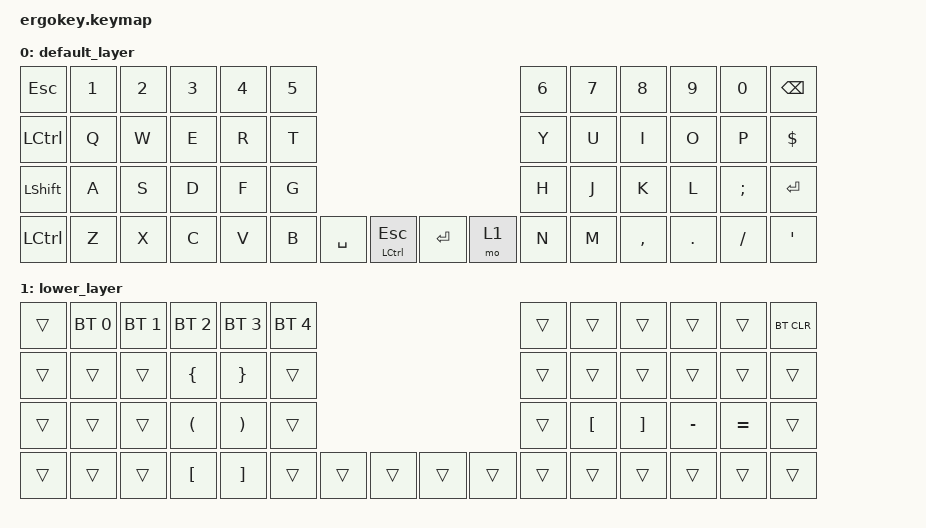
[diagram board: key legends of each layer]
#include <behaviors.dtsi>
#include <dt-bindings/zmk/keys.h>
#include <dt-bindings/zmk/bt.h>

// Defines what key goes where
// &kp = keypress
// &mo = momentary layer, means it activates a specific layer when we hold down this key
//    &mo 1 = selects into the next layer
// &bt = selects a different bluetooth device

// concept of layers: https://zmk.dev/docs/keymaps#layers
// key codes: https://zmk.dev/docs/keymaps/list-of-keycodes#modifiers

/ {
        keymap {
                compatible = "zmk,keymap";

                default_layer {
// ---------------------------------------------------------------------------------
// |   `  |  1  |  2  |  3  |  4  |  5  |     |  6  |  7  |  8  |  9  |  0  | BKSP |
// |  TAB |  Q  |  W  |  E  |  R  |  T  |     |  Y  |  U  |  I  |  O  |  P  |  \   |
// | CAPS |  A  |  S  |  D  |  F  |  G  |     |  H  |  J  |  K  |  L  |  ;  |  ENT |
// | SHFT |  Z  |  X  |  C  |  V  |  B  |     |  N  |  M  |  ,  |  .  |  /  | APOS |
// | CTRL | ALT | GUI | SPC | SPC | SPC |     | SPC | LOW |LARW |DARW |UARW | RARW |
                        bindings = <
   &kp ESC    &kp N1    &kp N2    &kp N3     &kp N4     &kp N5                                  &kp N6 &kp N7  &kp N8     &kp N9    &kp N0    &kp BSPC
   &kp LCTRL  &kp Q     &kp W     &kp E      &kp R      &kp T                                   &kp Y  &kp U   &kp I      &kp O     &kp P     &kp DOLLAR
   &kp LSHFT  &kp A     &kp S     &kp D      &kp F      &kp G                                   &kp H  &kp J   &kp K      &kp L     &kp SEMI  &kp RET
   &kp LCTRL  &kp Z     &kp X     &kp C      &kp V      &kp B &kp SPACE &mt LCTRL ESC &kp RET &mo 1 &kp N  &kp M   &kp COMMA  &kp DOT   &kp FSLH  &kp APOS
                        >;
                };
                lower_layer {
// ------------------------------------------------------------------------------------------------------------
// |       |  BT1  |  BT2  |  BT3  |  BT4  |  BT5  |          |       |       |       |       |       | BTCLR |
// |       |       |       |       |       |       |          |       |       |       |       |       |       |
// |       |       |       | LPAR  | RPAR  |       |          |       | LBKT  | RBKT  |       |       |       |
// |       |       |       |       |       |       |          |       |       |       |       |       |       |
                        bindings = <
   &trans    &bt BT_SEL 0   &bt BT_SEL 1   &bt BT_SEL 2   &bt BT_SEL 3   &bt BT_SEL 4           &trans    &trans    &trans   &trans      &trans     &bt BT_CLR
   &trans    &trans         &trans         &kp LBRC       &kp RBRC       &trans                 &trans    &trans    &trans   &trans      &trans     &trans
   &trans    &trans         &trans         &kp LPAR       &kp RPAR       &trans                 &trans    &kp LBKT  &kp RBKT &kp MINUS   &kp EQUAL  &trans
   &trans    &trans         &trans         &kp LBKT       &kp RBKT       &trans                 &trans    &trans    &trans   &trans      &trans     &trans
                                                          &trans         &trans                 &trans    &trans
                        >;
                };
        };
};
